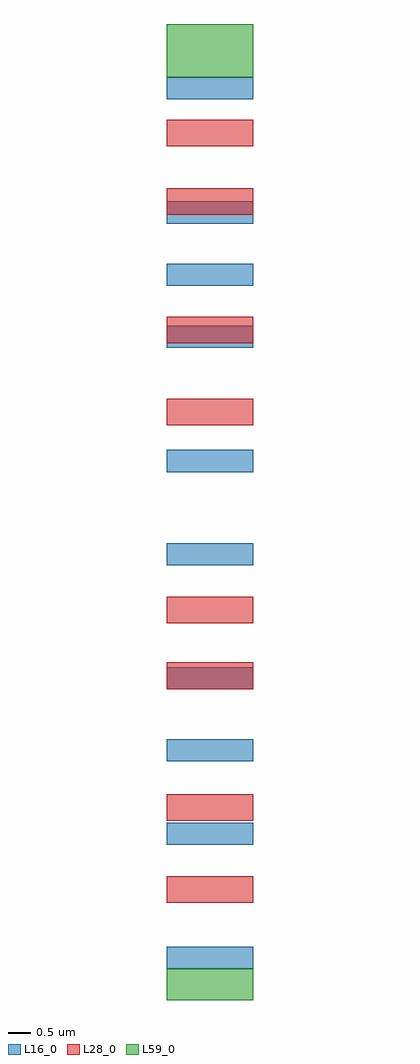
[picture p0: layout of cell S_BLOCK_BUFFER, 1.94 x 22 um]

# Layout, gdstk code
import gdstk
lib = gdstk.Library(unit=1e-6, precision=1e-09)
def R(c, l, rs):  # rectangles x0, y0, x1, y1
    for r in rs: c.add(gdstk.rectangle(r[:2], r[2:], *l))
def A(c, l, x, y, w, h, nx, ny, dx, dy):  # array of equal rectangles
    R(c, l, [(x+i*dx, y+j*dy, x+i*dx+w, y+j*dy+h) for i in range(nx) for j in range(ny)])
L16_0 = (16, 0)
L28_0 = (28, 0)
L59_0 = (59, 0)

s_block_buffer = lib.new_cell('S_BLOCK_BUFFER')
A(s_block_buffer, L16_0, 0, 14.7, 1.94, 0.5, 1, 3, 0, 1.4)
R(s_block_buffer, L16_0, [(0,0.7,1.94,1.2), (0,3.5,1.94,4), (0,5.38,1.94,5.88), (0,7,1.94,7.5), (0,9.8,1.94,10.3), (0,11.9,1.94,12.4), (0,20.3,1.94,20.8)])
R(s_block_buffer, L28_0, [(0,2.19,1.94,2.79), (0,4.04,1.94,4.64), (0,7.01,1.94,7.61), (0,8.49,1.94,9.09), (0,12.95,1.94,13.55), (0,14.8,1.94,15.4), (0,17.7,1.94,18.3), (0,19.24,1.94,19.84)])
R(s_block_buffer, L59_0, [(0,0,1.94,0.7), (0,20.8,1.94,22)])

lib.write_gds('S_BLOCK_BUFFER.gds')
